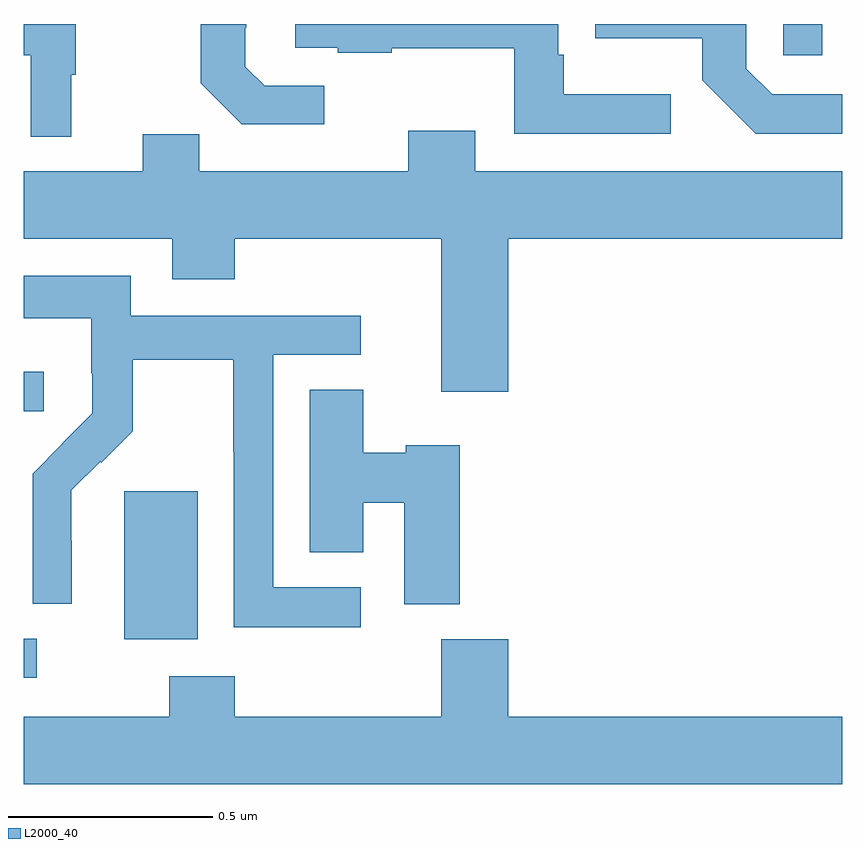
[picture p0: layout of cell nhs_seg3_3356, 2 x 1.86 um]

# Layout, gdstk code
import gdstk
lib = gdstk.Library(unit=1e-6, precision=1e-09)
def R(c, l, rs):  # rectangles x0, y0, x1, y1
    for r in rs: c.add(gdstk.rectangle(r[:2], r[2:], *l))
def P(c, l, *ps):  # polygons
    for p in ps: c.add(gdstk.Polygon(p, *l))
L2000_40 = (2000, 40)

nhs_seg3_3356 = lib.new_cell('nhs_seg3_3356')
R(nhs_seg3_3356, L2000_40, [(152,739.803,152.032,739.899), (152.246,739.898,152.425,740.259), (152,740.454,152.05,740.551), (153.855,741.324,153.951,741.4)])
P(nhs_seg3_3356, L2000_40, [(154,741.228),(153.828,741.228),(153.765,741.291),(153.765,741.4),(153.396,741.4),(153.396,741.365),(153.658,741.365),(153.658,741.263),(153.788,741.132),(154,741.132)],
  [(152.116,741.276),(152.128,741.276),(152.128,741.4),(152,741.4),(152,741.324),(152.018,741.324),(152.018,741.125),(152.116,741.125)],
  [(152.734,741.249),(152.589,741.249),(152.542,741.296),(152.542,741.391),(152.544,741.391),(152.544,741.4),(152.433,741.4),(152.433,741.255),(152.533,741.155),(152.734,741.155)],
  [(153.58,741.229),(153.319,741.229),(153.319,741.325),(153.306,741.325),(153.306,741.4),(152.663,741.4),(152.663,741.342),(152.767,741.342),(152.767,741.33),(152.899,741.33),(152.899,741.341),(153.198,741.341),(153.198,741.132),(153.58,741.132)],
  [(153.184,740.876),(154,740.876),(154,741.04),(153.103,741.04),(153.103,741.139),(152.939,741.139),(152.939,741.04),(152.429,741.04),(152.429,741.131),(152.291,741.131),(152.291,741.04),(152,741.04),(152,740.876),(152.363,740.876),(152.363,740.777),(152.516,740.777),(152.516,740.876),(153.02,740.876),(153.02,740.502),(153.184,740.502)],
  [(152.824,740.025),(152.61,740.025),(152.61,740.592),(152.824,740.592),(152.824,740.688),(152.262,740.688),(152.262,740.785),(152,740.785),(152,740.681),(152.166,740.681),(152.166,740.547),(152.168,740.547),(152.168,740.45),(152.094,740.376),(152.095,740.375),(152.022,740.302),(152.022,739.984),(152.118,739.984),(152.118,740.138),(152.117,740.138),(152.117,740.261),(152.187,740.331),(152.19,740.328),(152.267,740.405),(152.267,740.58),(152.512,740.58),(152.512,740.356),(152.514,740.356),(152.514,739.927),(152.824,739.927)],
  [(153.065,740.371),(152.934,740.371),(152.934,740.353),(152.83,740.353),(152.83,740.507),(152.699,740.507),(152.699,740.11),(152.83,740.11),(152.83,740.231),(152.93,740.231),(152.93,739.983),(153.065,739.983)],
  [(154,739.708),(153.184,739.708),(153.184,739.897),(153.02,739.897),(153.02,739.708),(152.516,739.708),(152.516,739.807),(152.356,739.807),(152.356,739.708),(152,739.708),(152,739.544),(154,739.544)])

lib.write_gds('nhs_seg3_3356.gds')
